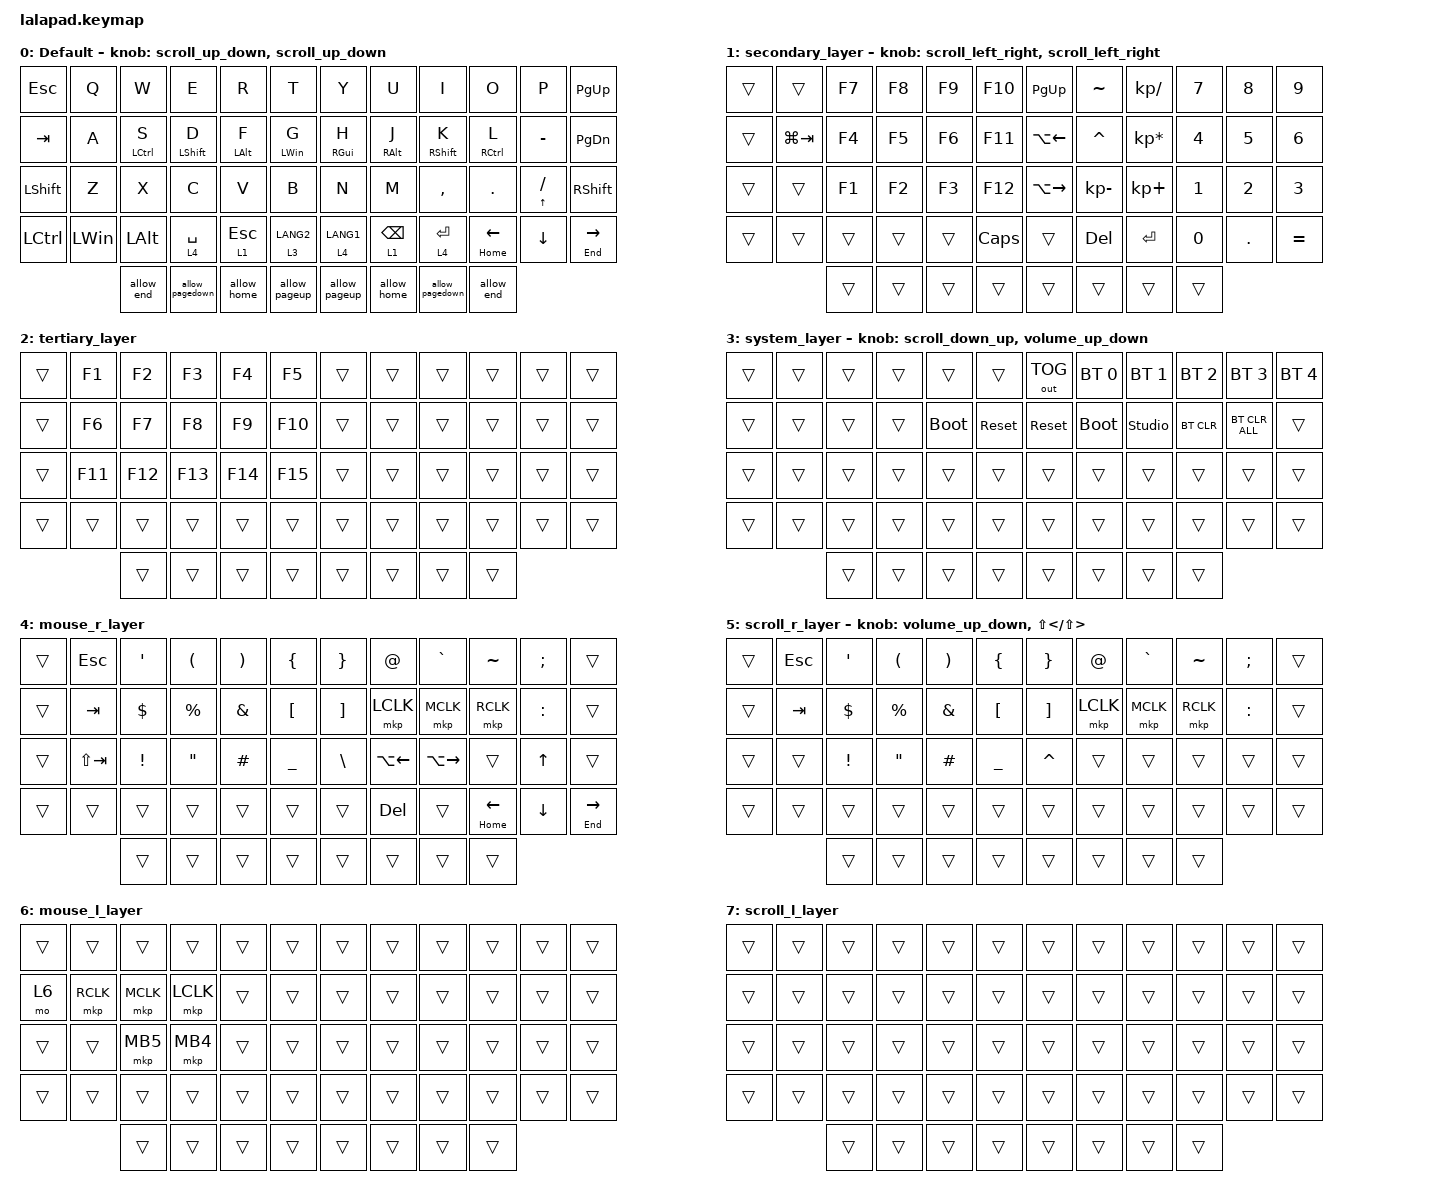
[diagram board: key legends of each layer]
#include <input/processors.dtsi>
#include <behaviors.dtsi>
#include <dt-bindings/zmk/bt.h>
#include <dt-bindings/zmk/keys.h>
#include <dt-bindings/zmk/outputs.h>
#include <dt-bindings/zmk/pointing.h>

#define DEFAULT_LAYER   0
#define SECONDARY_LAYER 1
#define TERTIARY_LAYER  2
#define SYSTEM_LAYER    3
#define MOUSE_R_LAYER   4
#define SCROLL_R_LAYER  5
#define MOUSE_L_LAYER   6
#define SCROLL_L_LAYER  7

// Mouse Scroll Value

#define ZMK_POINTING_DEFAULT_SCRL_VAL 100

// cirque trackpad input&layer control

&glidepoint_listener_R {
    input-processors =
        <&zip_xy_transform (INPUT_TRANSFORM_XY_SWAP | INPUT_TRANSFORM_X_INVERT | INPUT_TRANSFORM_Y_INVERT)>,
        <&zip_xy_scaler 2 1>;

    lowspeedmode {
        layers = <SECONDARY_LAYER>;
        input-processors =
            <&zip_xy_transform (INPUT_TRANSFORM_XY_SWAP | INPUT_TRANSFORM_X_INVERT | INPUT_TRANSFORM_Y_INVERT)>,
            <&zip_xy_scaler 3 5>;
    };

    scroller {
        layers = <SCROLL_R_LAYER>;
        input-processors =
            <&zip_xy_to_scroll_mapper>,
            <&zip_scroll_transform (INPUT_TRANSFORM_XY_SWAP | INPUT_TRANSFORM_Y_INVERT)>,
            <&zip_scroll_scaler 1 8>;
    };
};

&glidepoint_listener_L {
    input-processors =
        <&zip_xy_transform (INPUT_TRANSFORM_XY_SWAP | INPUT_TRANSFORM_X_INVERT | INPUT_TRANSFORM_Y_INVERT)>,
        <&zip_xy_scaler 3 2>;

    lowspeedmode {
        layers = <SECONDARY_LAYER>;
        input-processors =
            <&zip_xy_transform (INPUT_TRANSFORM_XY_SWAP | INPUT_TRANSFORM_X_INVERT | INPUT_TRANSFORM_Y_INVERT)>,
            <&zip_xy_scaler 3 4>;
    };

    scroller {
        layers = <SCROLL_L_LAYER>;
        input-processors =
            <&zip_xy_to_scroll_mapper>,
            <&zip_scroll_transform (INPUT_TRANSFORM_XY_SWAP | INPUT_TRANSFORM_Y_INVERT)>,
            <&zip_scroll_scaler 1 6>;
    };
};

/ {
    behaviors {
        // Encoder to Mouse Scroll

        scroll_up_down: sensor_scroll_up_down {
            compatible = "zmk,behavior-sensor-rotate";
            #sensor-binding-cells = <0>;
            bindings = <&msc SCRL_UP>, <&msc SCRL_DOWN>;

            tap-ms = <20>;
            label = "SCROLL_UP_DOWN";
        };

        scroll_down_up: sensor_scroll_down_up {
            compatible = "zmk,behavior-sensor-rotate";
            #sensor-binding-cells = <0>;
            bindings = <&msc SCRL_DOWN>, <&msc SCRL_UP>;

            tap-ms = <20>;
            label = "SCROLL_DOWN_UP";
        };

        scroll_left_right: sensor_scroll_left_right {
            compatible = "zmk,behavior-sensor-rotate";
            #sensor-binding-cells = <0>;
            bindings = <&msc SCRL_LEFT>, <&msc SCRL_RIGHT>;

            tap-ms = <20>;
            label = "SCROLL_LEFT_RIGHT";
        };

        scroll_right_left: sensor_scroll_right_left {
            compatible = "zmk,behavior-sensor-rotate";
            #sensor-binding-cells = <0>;
            bindings = <&msc SCRL_RIGHT>, <&msc SCRL_LEFT>;

            tap-ms = <20>;
            label = "SCROLL_RIGHT_LEFT";
        };

        volume_up_down: sensor_volume_up_down {
            compatible = "zmk,behavior-sensor-rotate";
            #sensor-binding-cells = <0>;
            bindings = <&kp C_VOLUME_UP>, <&kp C_VOLUME_DOWN>;

            tap-ms = <20>;
            label = "VOLUME_UP_DOWN";
        };

        dot_comma: dot_comma {
            compatible = "zmk,behavior-mod-morph";
            #binding-cells = <0>;
            bindings = <&kp KP_DOT>, <&kp COMMA>;

            mods = <(MOD_LSFT|MOD_RSFT)>;
            label = "DOT_COMMA";
        };

        pls_minus: pls_minus {
            compatible = "zmk,behavior-mod-morph";
            #binding-cells = <0>;
            bindings = <&kp PLUS>, <&kp MINUS>;

            mods = <(MOD_LSFT|MOD_RSFT)>;
            label = "PLS_MINUS";
        };

        allow_pageup: allow_pageup {
            compatible = "zmk,behavior-mod-morph";
            #binding-cells = <0>;
            bindings = <&kp UP>, <&kp PAGE_UP>;

            mods = <(MOD_LCTL|MOD_RCTL)>;
            label = "ALLOW_PAGEUP";
        };

        allow_pagedown: allow_pagedown {
            compatible = "zmk,behavior-mod-morph";
            #binding-cells = <0>;
            bindings = <&kp DOWN>, <&kp PAGE_DOWN>;

            mods = <(MOD_LCTL|MOD_RCTL)>;
            label = "ALLOW_PAGEDOWN";
        };

        allow_home: allow_home {
            compatible = "zmk,behavior-mod-morph";
            #binding-cells = <0>;
            bindings = <&kp LEFT>, <&kp HOME>;

            mods = <(MOD_LCTL|MOD_RCTL)>;
            label = "ALLOW_HOME";
        };

        allow_end: allow_end {
            compatible = "zmk,behavior-mod-morph";
            #binding-cells = <0>;
            bindings = <&kp RIGHT>, <&kp END>;

            mods = <(MOD_LCTL|MOD_RCTL)>;
            label = "ALLOW_END";
        };

        mt2: mod_tap2 {
            compatible = "zmk,behavior-hold-tap";
            #binding-cells = <2>;
            flavor = "tap-preferred";
            tapping-term-ms = <200>;
            bindings = <&kp>, <&kp>;

            quick-tap-ms = <200>;
            require-prior-idle-ms = <125>;
        };
    };

    keymap {
        compatible = "zmk,keymap";

        DEFAULT_LAYER {
            display-name = "Default";
            sensor-bindings = <&scroll_up_down>, <&scroll_up_down>;

            bindings = <
&kp ESC    &kp Q         &kp W         &kp E              &kp R            &kp T            &kp Y          &kp U             &kp I               &kp O           &kp P          &kp PAGE_UP
&kp TAB    &kp A         &mt2 LCTRL S  &mt2 LEFT_SHIFT D  &mt2 LEFT_ALT F  &mt2 LEFT_WIN G  &mt2 RGUI H    &mt2 RIGHT_ALT J  &mt2 RIGHT_SHIFT K  &mt2 RCTRL L    &kp MINUS      &kp PAGE_DOWN
&kp LSHFT  &kp Z         &kp X         &kp C              &kp V            &kp B            &kp N          &kp M             &kp COMMA           &kp PERIOD      &mt2 UP SLASH  &kp RIGHT_SHIFT
&kp LCTRL  &kp LEFT_WIN  &kp LEFT_ALT  &lt 4 SPACE        &lt 1 ESCAPE     &lt 3 LANG2      &lt 4 LANG1    &lt 1 BACKSPACE   &lt 4 RETURN        &mt2 HOME LEFT  &kp DOWN       &mt2 END RIGHT
                         &allow_end    &allow_pagedown    &allow_home      &allow_pageup    &allow_pageup  &allow_home       &allow_pagedown     &allow_end
            >;
        };

        SECONDARY_LAYER {
            display-name = "secondary_layer";
            sensor-bindings = <&scroll_left_right>, <&scroll_left_right>;

            bindings = <
&trans  &trans       &kp F7  &kp F8  &kp F9  &kp F10   &kp PAGE_UP    &kp TILDE     &kp KP_SLASH     &kp NUMBER_7  &kp NUMBER_8  &kp NUMBER_9
&trans  &kp LG(TAB)  &kp F4  &kp F5  &kp F6  &kp F11   &kp LA(LEFT)   &kp CARET     &kp KP_ASTERISK  &kp NUMBER_4  &kp N5        &kp NUMBER_6
&trans  &trans       &kp F1  &kp F2  &kp F3  &kp F12   &kp LA(RIGHT)  &kp KP_MINUS  &kp KP_PLUS      &kp NUMBER_1  &kp NUMBER_2  &kp NUMBER_3
&trans  &trans       &trans  &trans  &trans  &kp CAPS  &trans         &kp DELETE    &kp ENTER        &kp NUMBER_0  &kp DOT       &kp EQUAL
                     &trans  &trans  &trans  &trans    &trans         &trans        &trans           &trans
            >;
        };

        TERTIARY_LAYER {
            display-name = "tertiary_layer";
            bindings = <
&trans  &kp F1   &kp F2   &kp F3   &kp F4   &kp F5   &trans  &trans  &trans  &trans  &trans  &trans
&trans  &kp F6   &kp F7   &kp F8   &kp F9   &kp F10  &trans  &trans  &trans  &trans  &trans  &trans
&trans  &kp F11  &kp F12  &kp F13  &kp F14  &kp F15  &trans  &trans  &trans  &trans  &trans  &trans
&trans  &trans   &trans   &trans   &trans   &trans   &trans  &trans  &trans  &trans  &trans  &trans
                 &trans   &trans   &trans   &trans   &trans  &trans  &trans  &trans
            >;
        };

        SYSTEM_LAYER {
            display-name = "system_layer";
            sensor-bindings = <&scroll_down_up>, <&volume_up_down>;

            bindings = <
&trans  &trans  &trans  &trans  &trans       &trans      &out OUT_TOG  &bt BT_SEL 0  &bt BT_SEL 1    &bt BT_SEL 2  &bt BT_SEL 3    &bt BT_SEL 4
&trans  &trans  &trans  &trans  &bootloader  &sys_reset  &sys_reset    &bootloader   &studio_unlock  &bt BT_CLR    &bt BT_CLR_ALL  &trans
&trans  &trans  &trans  &trans  &trans       &trans      &trans        &trans        &trans          &trans        &trans          &trans
&trans  &trans  &trans  &trans  &trans       &trans      &trans        &trans        &trans          &trans        &trans          &trans
                &trans  &trans  &trans       &trans      &trans        &trans        &trans          &trans
            >;
        };

        MOUSE_R_LAYER {
            display-name = "mouse_r_layer";
            bindings = <
&trans  &kp ESCAPE   &kp SQT          &kp LEFT_PARENTHESIS  &kp RIGHT_PARENTHESIS  &kp LEFT_BRACE    &kp RIGHT_BRACE    &kp AT_SIGN         &kp GRAVE            &kp TILDE       &kp SEMICOLON  &trans
&trans  &kp TAB      &kp DOLLAR       &kp PERCENT           &kp AMPERSAND          &kp LEFT_BRACKET  &kp RIGHT_BRACKET  &mkp LCLK           &mkp MCLK            &mkp RCLK       &kp COLON      &trans
&trans  &kp LS(TAB)  &kp EXCLAMATION  &kp DOUBLE_QUOTES     &kp HASH               &kp UNDERSCORE    &kp BACKSLASH      &kp LA(LEFT_ARROW)  &kp LA(RIGHT_ARROW)  &trans          &kp UP_ARROW   &trans
&trans  &trans       &trans           &trans                &trans                 &trans            &trans             &kp DELETE          &trans               &mt2 HOME LEFT  &kp DOWN       &mt2 END RIGHT
                     &trans           &trans                &trans                 &trans            &trans             &trans              &trans               &trans
            >;
        };

        SCROLL_R_LAYER {
            display-name = "scroll_r_layer";
            bindings = <
&trans  &kp ESCAPE  &kp SQT          &kp LEFT_PARENTHESIS  &kp RIGHT_PARENTHESIS  &kp LEFT_BRACE    &kp RIGHT_BRACE    &kp AT_SIGN  &kp GRAVE  &kp TILDE  &kp SEMICOLON  &trans
&trans  &kp TAB     &kp DOLLAR       &kp PERCENT           &kp AMPERSAND          &kp LEFT_BRACKET  &kp RIGHT_BRACKET  &mkp LCLK    &mkp MCLK  &mkp RCLK  &kp COLON      &trans
&trans  &trans      &kp EXCLAMATION  &kp DOUBLE_QUOTES     &kp HASH               &kp UNDERSCORE    &kp CARET          &trans       &trans     &trans     &trans         &trans
&trans  &trans      &trans           &trans                &trans                 &trans            &trans             &trans       &trans     &trans     &trans         &trans
                    &trans           &trans                &trans                 &trans            &trans             &trans       &trans     &trans
            >;

            sensor-bindings =
                <&volume_up_down>,
                <&inc_dec_kp LS(LESS_THAN) LS(GREATER_THAN)>;
        };

        MOUSE_L_LAYER {
            display-name = "mouse_l_layer";
            bindings = <
&trans  &trans     &trans     &trans     &trans  &trans  &trans  &trans  &trans  &trans  &trans  &trans
&mo 6   &mkp RCLK  &mkp MCLK  &mkp LCLK  &trans  &trans  &trans  &trans  &trans  &trans  &trans  &trans
&trans  &trans     &mkp MB5   &mkp MB4   &trans  &trans  &trans  &trans  &trans  &trans  &trans  &trans
&trans  &trans     &trans     &trans     &trans  &trans  &trans  &trans  &trans  &trans  &trans  &trans
                   &trans     &trans     &trans  &trans  &trans  &trans  &trans  &trans
            >;
        };

        SCROLL_L_LAYER {
            display-name = "scroll_l_layer";
            bindings = <
&trans  &trans  &trans  &trans  &trans  &trans  &trans  &trans  &trans  &trans  &trans  &trans
&trans  &trans  &trans  &trans  &trans  &trans  &trans  &trans  &trans  &trans  &trans  &trans
&trans  &trans  &trans  &trans  &trans  &trans  &trans  &trans  &trans  &trans  &trans  &trans
&trans  &trans  &trans  &trans  &trans  &trans  &trans  &trans  &trans  &trans  &trans  &trans
                &trans  &trans  &trans  &trans  &trans  &trans  &trans  &trans
            >;
        };
    };
};
